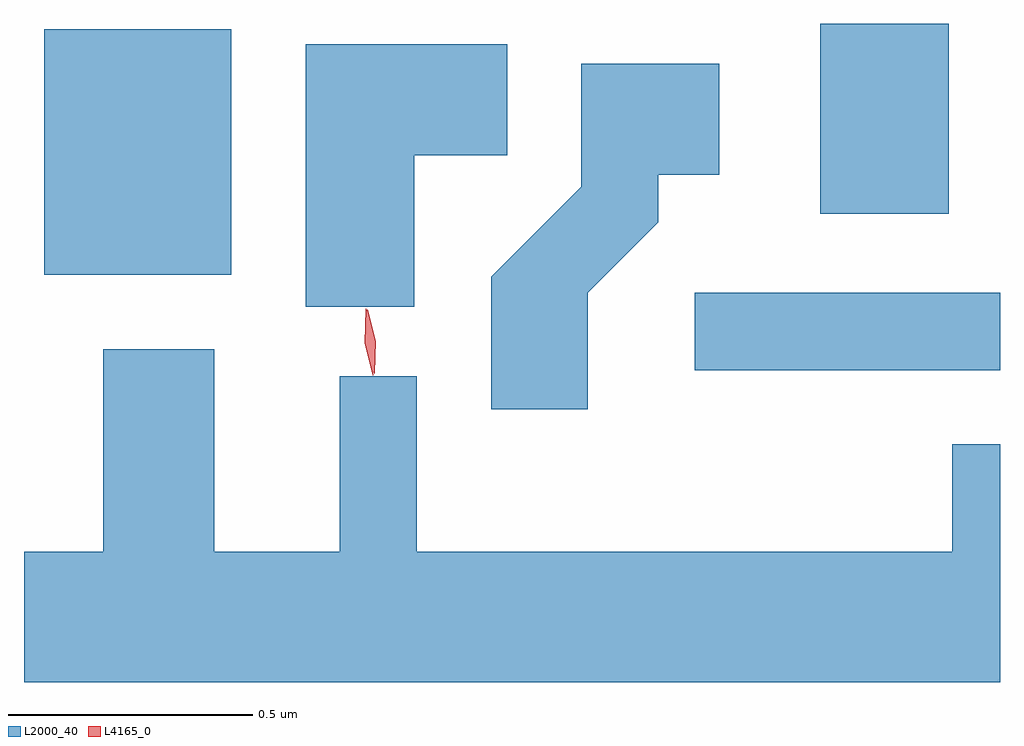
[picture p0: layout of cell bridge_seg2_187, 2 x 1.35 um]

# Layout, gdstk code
import gdstk
lib = gdstk.Library(unit=1e-6, precision=1e-09)
def R(c, l, rs):  # rectangles x0, y0, x1, y1
    for r in rs: c.add(gdstk.rectangle(r[:2], r[2:], *l))
def P(c, l, *ps):  # polygons
    for p in ps: c.add(gdstk.Polygon(p, *l))
L2000_40 = (2000, 40)
L4165_0 = (4165, 0)

bridge_seg2_187 = lib.new_cell('bridge_seg2_187')
R(bridge_seg2_187, L2000_40, [(837.683,984.576,838.309,984.734), (836.351,984.771,836.734,985.274), (837.941,984.896,838.204,985.286)])
P(bridge_seg2_187, L2000_40, [(837.109,985.016),(837.299,985.016),(837.299,985.244),(836.886,985.244),(836.886,984.706),(837.109,984.706)],
  [(837.464,984.734),(837.609,984.879),(837.609,984.976),(837.734,984.976),(837.734,985.204),(837.451,985.204),(837.451,984.952),(837.266,984.767),(837.266,984.496),(837.464,984.496)],
  [(838.309,984.424),(838.211,984.424),(838.211,984.204),(837.114,984.204),(837.114,984.563),(836.956,984.563),(836.956,984.204),(836.699,984.204),(836.699,984.619),(836.471,984.619),(836.471,984.204),(836.309,984.204),(836.309,983.936),(838.309,983.936)])
P(bridge_seg2_187, L4165_0, [(837.024,984.565),(837.007,984.632),(837.009,984.702),(837.009,984.702),(837.01,984.702),(837.027,984.635),(837.025,984.565),(837.025,984.565)],
  [(837.027,984.568),(837.027,984.569),(837.01,984.633),(837.012,984.7),(837.012,984.7),(837.013,984.7),(837.03,984.635),(837.028,984.569)])

lib.write_gds('bridge_seg2_187.gds')
